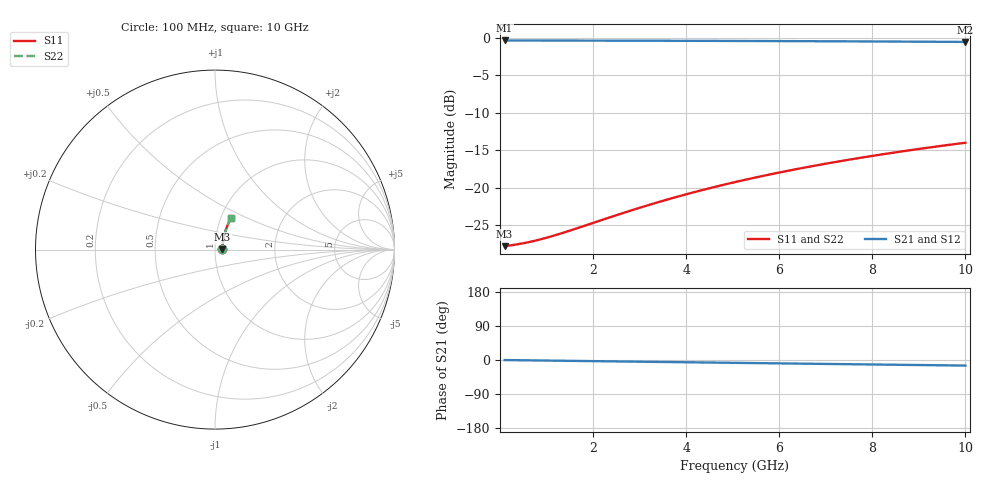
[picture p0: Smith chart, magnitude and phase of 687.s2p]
# Hz S RI R 50.00
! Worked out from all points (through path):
!   100 points, 100 MHz to 10 GHz, reference 50 ohm
!   highest |S21| = -0.36 dB at 100 MHz (marker M1); lowest = -0.6 dB at 10 GHz (marker M2)
!   group delay of S21, straight-line fit = 4.09 ps
!   lowest |S11| = -27.8 dB at 100 MHz (marker M3), VSWR 1.08, Z = 54.2 + j0.205 ohm
!   |S11| at or under -10 dB: start of sweep to end of sweep
!   |S22| runs from -27.8 to -14.0 dB; largest |S21 - S12| = 0
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1e8  0.0406 0.00189  0.9594 -0.0025  0.9594 -0.0025  0.0406 0.00189
3e8  0.041 0.00566  0.9589 -0.00749  0.9589 -0.00749  0.041 0.00566
5e8  0.0414 0.00943  0.9586 -0.0125  0.9586 -0.0125  0.0414 0.00943
8e8  0.0419 0.0151  0.9581 -0.0199  0.9581 -0.0199  0.0419 0.0151
1e9  0.0422 0.0188  0.9577 -0.0249  0.9577 -0.0249  0.0422 0.0188
1.2e9  0.0426 0.0226  0.9574 -0.0299  0.9574 -0.0299  0.0426 0.0226
1.5e9  0.0432 0.0282  0.9568 -0.0373  0.9568 -0.0373  0.0432 0.0282
1.8e9  0.0438 0.0338  0.9561 -0.0448  0.9561 -0.0448  0.0438 0.0338
2.7e9  0.0461 0.0506  0.9537 -0.067  0.9537 -0.067  0.0461 0.0506
3.1e9  0.0474 0.058  0.9524 -0.0768  0.9524 -0.0768  0.0474 0.058
3.4e9  0.0484 0.0635  0.9514 -0.0842  0.9514 -0.0842  0.0484 0.0635
3.8e9  0.0499 0.0708  0.9498 -0.0939  0.9498 -0.0939  0.0499 0.0708
4.2e9  0.0516 0.0781  0.9481 -0.1037  0.9481 -0.1037  0.0516 0.0781
4.6e9  0.0533 0.0854  0.9462 -0.1134  0.9462 -0.1134  0.0533 0.0854
5.1e9  0.0558 0.0944  0.9437 -0.1254  0.9437 -0.1254  0.0558 0.0944
5.5e9  0.0579 0.1015  0.9415 -0.135  0.9415 -0.135  0.0579 0.1015
5.9e9  0.0601 0.1086  0.9392 -0.1445  0.9392 -0.1445  0.0601 0.1086
6.7e9  0.065 0.1226  0.9341 -0.1634  0.9341 -0.1634  0.065 0.1226
7.5e9  0.0705 0.1363  0.9284 -0.182  0.9284 -0.182  0.0705 0.1363
8.4e9  0.0772 0.1514  0.9214 -0.2026  0.9214 -0.2026  0.0772 0.1514
9.2e9  0.0838 0.1645  0.9146 -0.2206  0.9146 -0.2206  0.0838 0.1645
1e10  0.0908 0.1772  0.9073 -0.2383  0.9073 -0.2383  0.0908 0.1772
